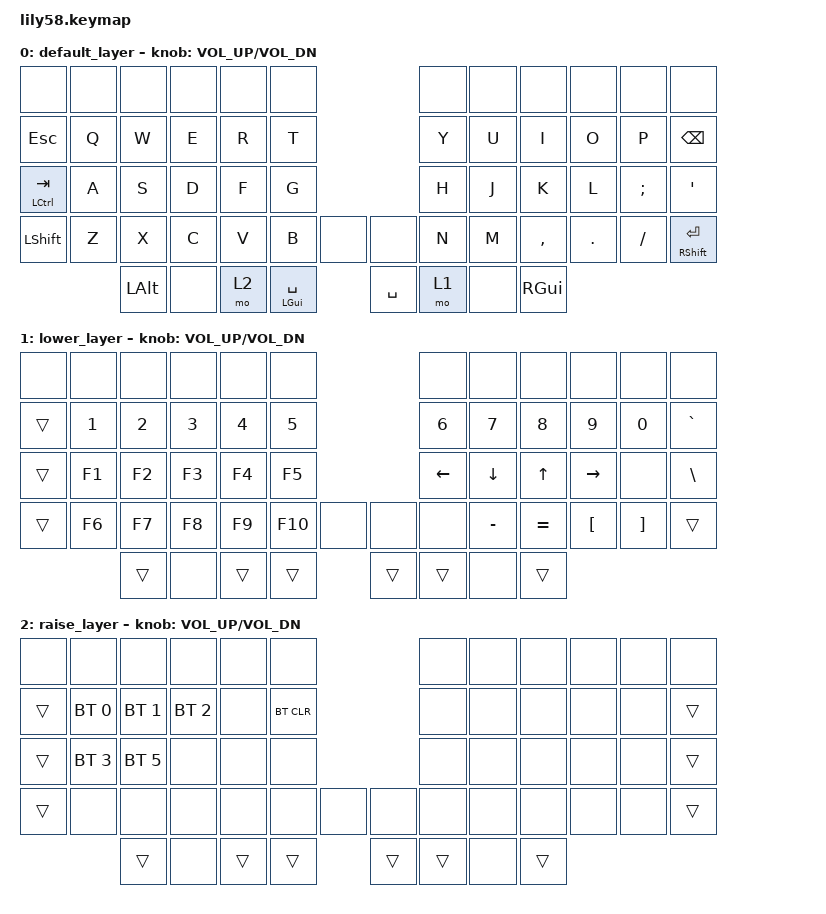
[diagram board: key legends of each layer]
/*
 * copyright (c) 2020 the zmk contributors
 *
 * spdx-license-identifier: mit
 */

#include <behaviors.dtsi>
#include <dt-bindings/zmk/keys.h>
#include <dt-bindings/zmk/bt.h>

/ {
    keymap {
        compatible = "zmk,keymap";

        default_layer {
//&kp ESC   &kp N1 &kp N2 &kp N3   &kp N4   &kp N5                     &kp N6 &kp N7   &kp N8    &kp N9  &kp N0   &kp MINUS

            bindings = <
&none         &none  &none  &none    &none    &none                      &none  &none    &none     &none   &none    &none
&kp ESC       &kp Q  &kp W  &kp E    &kp R    &kp T                      &kp Y  &kp U    &kp I     &kp O   &kp P    &kp BSPC
&mt LCTRL TAB &kp A  &kp S  &kp D    &kp F    &kp G                      &kp H  &kp J    &kp K     &kp L   &kp SEMI &kp SQT
&kp LSHFT     &kp Z  &kp X  &kp C    &kp V    &kp B    &none   &none     &kp N  &kp M    &kp COMMA &kp DOT &kp FSLH &mt RSHFT RET
                     &kp LALT &none  &mo 2    &mt LGUI SPACE   &kp SPACE &mo 1  &none    &kp RGUI
            >;
            sensor-bindings = <&inc_dec_kp C_VOL_UP C_VOL_DN>;
        };

        lower_layer {
//&trans  &bt BT_SEL 0  &bt BT_SEL 1  &bt BT_SEL 2      &none             &bt BT_CLR                       &none      &none     &none     &kp EQUAL &kp BSLH  &kp GRAVE

            bindings = <
&none   &none    &none    &none    &none    &none                   &none     &none      &none     &none     &none       &none
&trans  &kp N1   &kp N2   &kp N3   &kp N4   &kp N5                  &kp N6    &kp N7     &kp N8    &kp N9    &kp N0      &kp GRAVE
&trans  &kp F1   &kp F2   &kp F3   &kp F4   &kp F5                  &kp LEFT  &kp DOWN   &kp UP    &kp RIGHT &none       &kp BSLH 
&trans  &kp F6   &kp F7   &kp F8   &kp F9   &kp F10  &none   &none  &none     &kp MINUS  &kp EQUAL &kp LBKT  &kp RBKT    &trans
                          &trans   &none    &trans   &trans &trans  &trans    &none      &trans
            >;
            sensor-bindings = <&inc_dec_kp C_VOL_UP C_VOL_DN>;
        };

        raise_layer {
//&trans  &trans  &trans  &trans  &trans  &trans                       &none    &none    &none    &kp EQUAL &kp BSLH &kp GRAVE

            bindings = <
&none   &none        &none        &none        &none  &none                       &none    &none    &none    &none     &none    &none
&trans  &bt BT_SEL 0 &bt BT_SEL 1 &bt BT_SEL 2 &none  &bt BT_CLR                  &none    &none    &none    &none     &none    &trans
&trans  &bt BT_SEL 3 &bt BT_SEL 5 &none        &none  &none                       &none    &none    &none    &none     &none    &trans
&trans  &none        &none        &none        &none  &none     &none    &none    &none    &none    &none    &none     &none    &trans
                                  &trans       &none  &trans    &trans   &trans   &trans   &none    &trans
            >;
            sensor-bindings = <&inc_dec_kp C_VOL_UP C_VOL_DN>;
        };
    };
};
